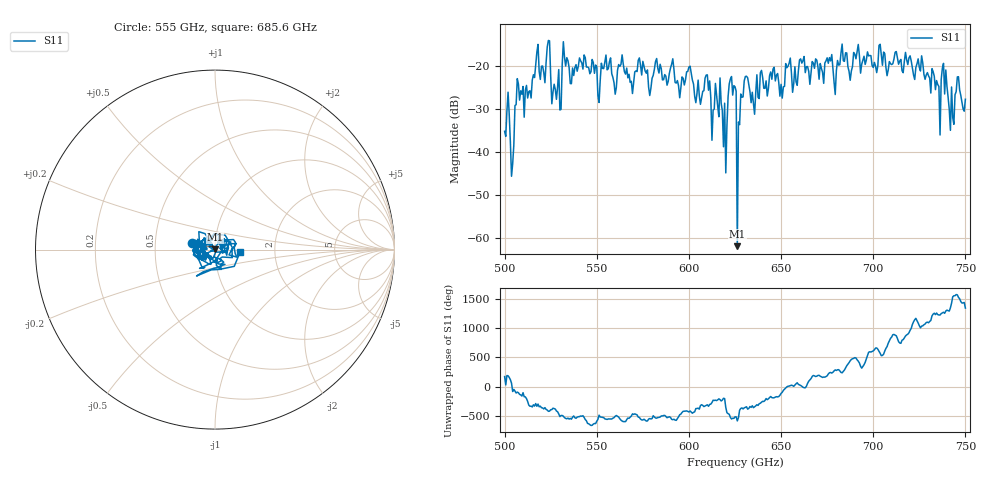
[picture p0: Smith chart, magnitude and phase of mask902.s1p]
!Created with skrf (http://scikit-rf.org).
# GHz S MA R 50.0
!freq magS11 angS11
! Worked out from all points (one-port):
!   401 points, 500 GHz to 750 GHz, reference 50 ohm
!   lowest |S11| = -61.9 dB at 626.2 GHz (marker M1), VSWR 1.00, Z = 49.9 + j0.0579 ohm
!   |S11| at or under -10 dB: start of sweep to end of sweep
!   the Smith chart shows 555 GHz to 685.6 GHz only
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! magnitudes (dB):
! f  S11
! 500 GHz  -35.2
! 504.4 GHz  -42.8
! 506.9 GHz  -23.0
! 513.8 GHz  -25.8
! 516.9 GHz  -19.8
! 523.8 GHz  -14.1
! 526.9 GHz  -24.3
! 531.2 GHz  -19.8
! 533.1 GHz  -20.0
! 550.6 GHz  -26.9
! 562.5 GHz  -20.1
! 593.8 GHz  -23.4
! 610 GHz  -22.1
! 619.4 GHz  -28.7
! 623.8 GHz  -26.8
! 625 GHz  -24.8
! 626.2 GHz  -61.9
! 631.2 GHz  -22.4
! 635 GHz  -28.7
! 656.2 GHz  -26.1
! 687.5 GHz  -23.3
! 690.6 GHz  -18.4
! 718.8 GHz  -19.7
! 735 GHz  -24.3
! 738.8 GHz  -26.5
! 742.5 GHz  -24.9
! 745.6 GHz  -22.6
! 750 GHz  -27.7
